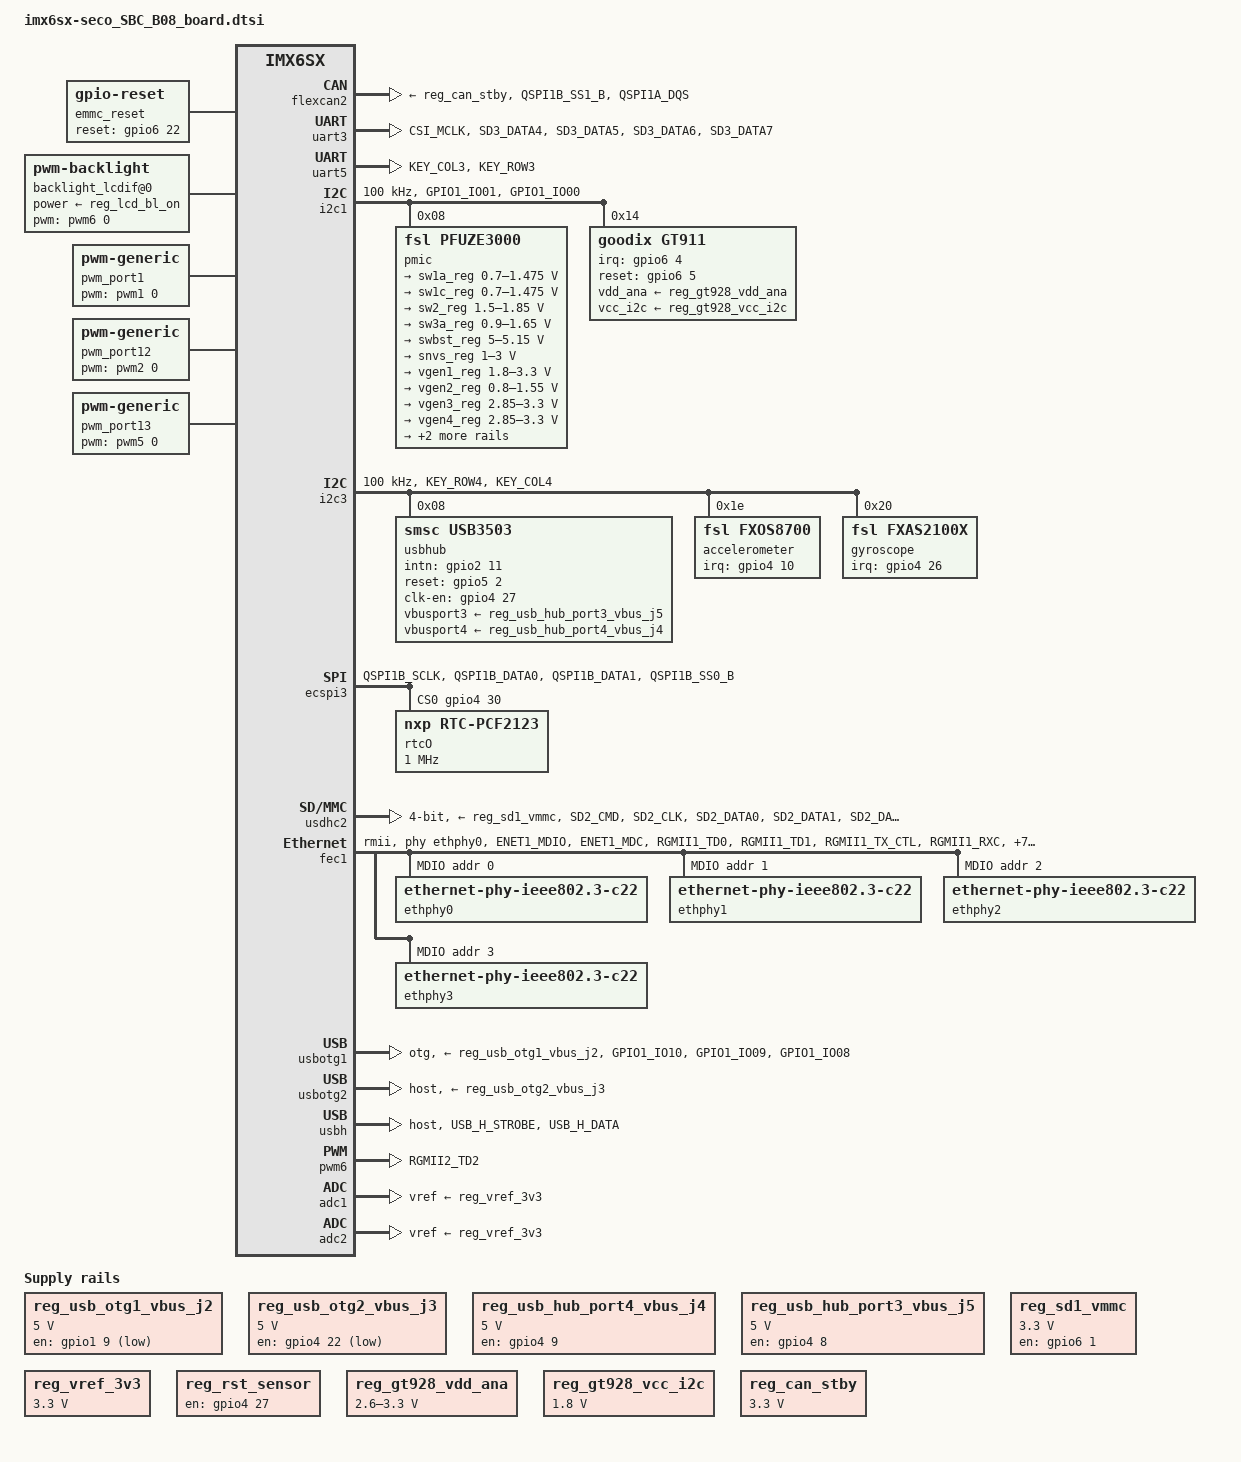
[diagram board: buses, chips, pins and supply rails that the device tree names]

#include <dt-bindings/gpio/gpio.h>
#include <dt-bindings/input/input.h>
#include <dt-bindings/pwm/pwm.h>

#include "imx6sx.dtsi"


/ {
	aliases {
		mmc0 = &usdhc4;
		mmc1 = &usdhc2;
		mmc2 = &usdhc3;

	};


/*  __________________________________________________________________________
 * |                                                                          |
 * |                                 REGULATORS                               |
 * |__________________________________________________________________________|
 */
	regulators {
		compatible       = "simple-bus";
		#address-cells   = <1>;
		#size-cells      = <0>;


		reg_usb_otg1_vbus_j2: usb_otg1_vbus {
			compatible              = "regulator-fixed";
			regulator-name          = "usb_otg1_vbus_j2";
			regulator-min-microvolt = <5000000>;
			regulator-max-microvolt = <5000000>;
			gpio                    = <&gpio1 9 GPIO_ACTIVE_HIGH>;
			enable-active-down;
		};

		reg_usb_otg2_vbus_j3: usb_otg2_vbus {
			compatible              = "regulator-fixed";
			regulator-name          = "usb_otg2_vbus_j3";
			regulator-min-microvolt = <5000000>;
			regulator-max-microvolt = <5000000>;
			gpio                    = <&gpio4 22 GPIO_ACTIVE_HIGH>;
			enable-active-down;
		};

		reg_usb_hub_port4_vbus_j4: usb_otg4_vbus {
			compatible              = "regulator-fixed";
			regulator-name          = "usb_hub_port4_vbus_j4";
			regulator-min-microvolt = <5000000>;
			regulator-max-microvolt = <5000000>;
			gpio                    = <&gpio4 9 GPIO_ACTIVE_HIGH>;
			enable-active-high;
			regulator-always-on;
		};

		reg_usb_hub_port3_vbus_j5: usb_otg3_vbus {
			compatible              = "regulator-fixed";
			regulator-name          = "usb_hub_port3_vbus_j5";
			regulator-min-microvolt = <5000000>;
			regulator-max-microvolt = <5000000>;
			gpio                    = <&gpio4 8 GPIO_ACTIVE_HIGH>;
			enable-active-high;
			regulator-always-on;
		};


		reg_sd1_vmmc: reg_usd {
			compatible              = "regulator-fixed";
			regulator-name          = "vmmc_uSD";
			regulator-min-microvolt = <3300000>;
			regulator-max-microvolt = <3300000>;
			gpio                    = <&gpio6 1 GPIO_ACTIVE_HIGH>;
			enable-active-high;
		};


		reg_sd3_wlan_en: reg_wlan_en {
			compatible              = "regulator-fixed";
			regulator-name          = "wlan-en";
			regulator-min-microvolt = <1800000>;
			regulator-max-microvolt = <1800000>;
			gpio                    = <&gpio2 12 GPIO_ACTIVE_LOW>;
			startup-delay-us        = <70000>;    /* WLAN card specific delay */
			enable-active-high;
			status                  = "disabled";
		};

	
		reg_vref_3v3: reg_vref_3v3 {
			compatible = "regulator-fixed";
			regulator-name = "vref-3v3";
			regulator-min-microvolt = <3300000>;
			regulator-max-microvolt = <3300000>;
		};


		reg_lcd_panel_on: reg_lcd_pon {
        	compatible        = "regulator-fixed";
            regulator-name    = "lcd panel on";
            gpio              = <&gpio4 21 GPIO_ACTIVE_HIGH>;
			status            = "disabled";
            enable-active-high;
        };

		reg_ldb_panel_on: reg_ldb_pon {
        	compatible        = "regulator-fixed";
            regulator-name    = "ldb panel on";
            gpio              = <&gpio4 18 GPIO_ACTIVE_HIGH>;
			status            = "disabled";
            enable-active-high;
        };

		reg_lcd_bl_on: reg_lcd_bl_on {
        	compatible        = "regulator-fixed";
            regulator-name    = "lcd bl on";
            gpio              = <&gpio5 23 GPIO_ACTIVE_HIGH>;
			status            = "disabled";
			enable-active-high;
			regulator-always-on;
        };


		reg_rst_sensor: reg_rst_sensor {
			compatible        = "regulator-fixed";
            regulator-name    = "sensor enable";
            gpio              = <&gpio4 27 GPIO_ACTIVE_HIGH>;
            enable-active-high;
			regulator-always-on;
		};

		reg_gt928_vdd_ana: gt928_vdd_ana {
			compatible              = "regulator-fixed";
			reg                     = <2>;
			regulator-name          = "gt928_vdd_ana";
			regulator-min-microvolt = <2600000>;
			regulator-max-microvolt = <3300000>;
			regulator-always-on;
			status                  = "okay";
		};


		reg_gt928_vcc_i2c: gt928_vcc_i2c {
			compatible              = "regulator-fixed";
			reg                     = <3>;
			regulator-name          = "gt928_vcc_i2c";
			regulator-min-microvolt = <1800000>;
			regulator-max-microvolt = <1800000>;
			regulator-always-on;
			status                  = "okay";
		};

		reg_can_stby: regulator@10 {
                         compatible = "regulator-fixed";
                         regulator-name = "can-stby";
                         regulator-min-microvolt = <3300000>;
                         regulator-max-microvolt = <3300000>;
                 };


	};


	emmc_reset: gpio-reset {
		compatible     = "gpio-reset";
		reset-gpios    = <&gpio6 22 GPIO_ACTIVE_HIGH>;
		reset-delay-us = <100000>;                                                                                                                    
 		#reset-cells   = <0>;
		initially-in-reset;
		status         = "okay";
	};


 /*  __________________________________________________________________________
 * |                                                                          |
 * |                                   VIDEO                                  |
 * |__________________________________________________________________________|
 */
	pxp_v4l2_out {
		compatible = "fsl,imx6sx-pxp-v4l2", "fsl,imx6sl-pxp-v4l2";
		status     = "okay";
	};


	backlight_lcdif@0 {
		compatible               = "pwm-backlight";
		pwms                     = <&pwm6 0 5000000>;
		brightness-levels        = <0  4   8   12  16  20  24  28  32  36
		                            40  44  48  52  56  60  64  68  72  76
		                            80  84  88  92  96  100 104 108 112 116
		                            120 124 128 132 136 140 144 148 152 156
		                            160 164 168 172 176 180 184 188 192 196
		                            200 204 208 212 216 220 224 228 232 236
		                            240 244 248 252 255
		                           >;
		default-brightness-level = <64>;
		fb-names                 = "mxs-lcdif0";
		power-supply             = <&reg_lcd_bl_on>;
		status                   = "okay";
	};	


	blk_lcdif2: backlight_lcdif@1 {
    	compatible   = "gpio-backlight";
        gpios        = <&gpio6 3 GPIO_ACTIVE_HIGH>;
		default-on;
        status       = "disabled";
    };

};


&lcdif1 {
    pinctrl-names = "default";
    pinctrl-0     = <&pinctrl_lcdif_dat_0
    				&pinctrl_lcdif_ctrl_0>;
    lcd-supply    = <&reg_lcd_panel_on>;
    display       = <&display0>;
    status        = "disabled";

    display0: display {
      	bits-per-pixel = <32>;
        bus-width = <24>;

        display-timings {
            native-mode = <&timing0>;
            timing0: timing0 {
        		clock-frequency = <38000000>;
           		hactive         = <800>;
           		vactive         = <480>;
            	hback-porch     = <56>;
            	hfront-porch    = <50>;
            	vback-porch     = <20>;
            	vfront-porch    = <53>;
            	hsync-len       = <180>;
            	vsync-len       = <30>;
				hsync-active    = <0>;
            	vsync-active    = <1>;
            	de-active       = <1>;
            	pixelclk-active = <0>;
        	};
    	};
    };
};


&lcdif2 {
	display    = <&display1>;
	disp-dev   = "ldb";
	lcd-supply = <&reg_ldb_panel_on>;
	status     = "disabled";

	display1: display {
		bits-per-pixel = <16>;
		bus-width      = <18>;
	};
};


&ldb {
	status        = "disabled";

	lvds_chn1: lvds-channel@0 {
		fsl,data-mapping = "spwg";
		fsl,data-width   = <18>;
		crtc             = "lcdif2";
		status           = "disabled";
		
		display-timings {
			native-mode = <&timing2>;
			timing2: LDB-WVGA {
				clock-frequency = <33660000>;
				hactive         = <800>;
				vactive         = <480>;
				hback-porch     = <56>;
				hfront-porch    = <50>;
				vback-porch     = <23>;
				vfront-porch    = <20>;
				hsync-len       = <150>;
				vsync-len       = <2>;
			};
		};
	};
};


&dcic1 {
	dcic_id = <0>;
	dcic_mux = "dcic-lcdif1";
	status = "disabled";
};


&dcic2 {
	dcic_id  = <1>;
	dcic_mux = "dcic-lvds";
	status   = "disabled";
};


 /*  __________________________________________________________________________
 * |                                                                          |
 * |                             POWER MANAGEMENT                             |
 * |__________________________________________________________________________|
 */



/*  __________________________________________________________________________
 * |                                                                          |
 * |                                    CAN                                   |
 * |__________________________________________________________________________|
 */
 /*  PORT 3  */
 &flexcan1 {
    pinctrl-names  = "default";
    pinctrl-0      = <&pinctrl_j9_port3_1>;
	xceiver-supply = <&reg_can_stby>;
    status         = "disabled";
};


&flexcan2 {
    pinctrl-names  = "default";
    pinctrl-0      = <&pinctrl_flexcan2>;
	xceiver-supply = <&reg_can_stby>;
    status         = "okay";
};
/*  __________________________________________________________________________
 * |__________________________________________________________________________|
 */


/*  __________________________________________________________________________
 * |                                                                          |
 * |                                    UART                                  |
 * |__________________________________________________________________________|
 */
/*  PORT 11  */
&uart1 {
	pinctrl-names = "default";
	pinctrl-0     = <&pinctrl_j9_port11_1>;
	fsl,uart-has-rtscts;
	status        = "disabled";
};


/*  PORT 11  */
&uart2 {
	pinctrl-names = "default";
	pinctrl-0     = <&pinctrl_j9_port11_3>;
	status        = "disabled";
};


 /* Bluetooth */
 &uart3 {
	pinctrl-names = "default";
	pinctrl-0     = <&pinctrl_uart3>;
	dma-names     = "","tx";
	fsl,uart-has-rtscts;
	status        = "okay";
};


&uart5 {
	pinctrl-names = "default";
	pinctrl-0     = <&pinctrl_uart5>;
	status        = "okay";
};


 /*  PORT 4  */
&uart6 {
	pinctrl-names  = "default";
	pinctrl-0      = <&pinctrl_j9_port4_2>;
	rs485-cts-gpio = <&gpio1 21 0>;
	fsl,rs485-mode;          // to remove if RTS/CTS are used
	fsl,uart-has-rtscts;     // to remove if r485 mode is used
	status         = "disabled";
};
/*  __________________________________________________________________________
 * |__________________________________________________________________________|
 */


 /*  __________________________________________________________________________
 * |                                                                          |
 * |                            I2C INTERFACE/DEVICE                          |
 * |__________________________________________________________________________|
 */
 &i2c1 {
	clock-frequency = <100000>;
	pinctrl-names   = "default";
	pinctrl-0       = <&pinctrl_i2c1>;
	status          = "okay";

	pmic: pfuze3000@08 {
		compatible = "fsl,pfuze3000";
		reg = <0x08>;

		regulators {
			sw1a_reg: sw1a {
				regulator-min-microvolt = <700000>;
				regulator-max-microvolt = <1475000>;
				regulator-boot-on;
				regulator-always-on;
				regulator-ramp-delay = <6250>;
			};

			/* use sw1c_reg to align with pfuze100/pfuze200 */
			sw1c_reg: sw1b {
				regulator-min-microvolt = <700000>;
				regulator-max-microvolt = <1475000>;
				regulator-boot-on;
				regulator-always-on;
				regulator-ramp-delay = <6250>;
			};

			sw2_reg: sw2 {
				regulator-min-microvolt = <1500000>;
				regulator-max-microvolt = <1850000>;
				regulator-boot-on;
				regulator-always-on;
			};

			sw3a_reg: sw3 {
				regulator-min-microvolt = <900000>;
				regulator-max-microvolt = <1650000>;
				regulator-boot-on;
				regulator-always-on;
			};

			swbst_reg: swbst {
				regulator-min-microvolt = <5000000>;
				regulator-max-microvolt = <5150000>;
			};

			snvs_reg: vsnvs {
				regulator-min-microvolt = <1000000>;
				regulator-max-microvolt = <3000000>;
				regulator-boot-on;
				regulator-always-on;
			};

			vref_reg: vrefddr {
				regulator-boot-on;
				regulator-always-on;
			};

			vgen1_reg: vldo1 {
				regulator-min-microvolt = <1800000>;
				regulator-max-microvolt = <3300000>;
				regulator-always-on;
			};

			vgen2_reg: vldo2 {
				regulator-min-microvolt = <800000>;
				regulator-max-microvolt = <1550000>;
				regulator-always-on;
			};

			vgen3_reg: vccsd {
				regulator-min-microvolt = <2850000>;
				regulator-max-microvolt = <3300000>;
				regulator-always-on;
			};

			vgen4_reg: v33 {
				regulator-min-microvolt = <2850000>;
				regulator-max-microvolt = <3300000>;
				regulator-always-on;
			};

			vgen5_reg: vldo3 {
				regulator-min-microvolt = <1800000>;
				regulator-max-microvolt = <3300000>;
				regulator-always-on;
			};

			vgen6_reg: vldo4 {
				regulator-min-microvolt = <1800000>;
				regulator-max-microvolt = <3300000>;
				regulator-always-on;
			};
		};
	};

	gt911: gt911@14 {
		compatible             = "goodix,gt911";
		reg                    = <0x14>;
		pinctrl-names          = "default";
		pinctrl-0              = <&pinctrl_gt911>;

		vdd_ana-supply         = <&reg_gt928_vdd_ana>;
 		vcc_i2c-supply         = <&reg_gt928_vcc_i2c>;
	
		interrupt-parent       = <&gpio6>;
		interrupts             = <4 IRQ_TYPE_LEVEL_LOW>;
		irq-gpios              = <&gpio6 4 IRQ_TYPE_LEVEL_LOW>;
		irq-flags              = <2>;

		reset-gpios            = <&gpio6 5 GPIO_ACTIVE_HIGH>;
	
		ts-max-width           = <1280>;
		ts-max-height          = <800>;

		touchscreen-max-id     = <11>;
 		touchscreen-size-x     = <800>;
 		touchscreen-size-y     = <480>;
 		touchscreen-max-w      = <1024>;
 		touchscreen-max-p      = <1024>;
		
		goodix,ts-reverse-x    = <0>;
		goodix,ts-reverse-y    = <1>;
		goodix,ts-reverse-xy   = <0>;
		goodix,swap-x2y        = <0>;
		ts-max-finger          = <1>;
		goodix,sensor-id       = <0>;

 		goodix,type-a-report   = <0>;
 		goodix,driver-send-cfg = <1>;

 		goodix,int-sync        = <1>;
 		goodix,esd-protect     = <0>;

 		goodix,auto-update     = <0>;
 		goodix,auto-update-cfg = <1>;
		
		goodix,cfg-group0      = [
41 20 03 E0 01 0A 04 00 01 08 28 05 50 32 03 07
00 00 00 00 00 00 00 00 00 00 00 8C 2B 0D 17 15
31 0D 00 00 10 D2 04 1D 00 00 00 00 00 03 64 32
00 00 00 0F 23 94 C5 02 07 00 00 04 A0 10 00 8B
13 00 7C 16 00 6A 1B 00 5E 20 00 5E 00 00 00 00
00 00 00 00 00 00 00 00 00 00 00 00 00 00 00 00
00 00 00 00 00 00 00 00 00 00 00 00 00 00 00 00
02 04 06 08 0A 0C 0E 10 12 14 16 18 1A FF 00 00
00 00 00 00 00 00 00 00 00 00 00 00 00 00 00 02
04 06 08 0A 0C 0F 10 12 13 14 16 18 1C 1D 1E 1F
20 21 22 24 26 FF FF FF 00 00 00 00 00 00 00 00
00 00 00 00 00 00 00 00 C3 00 00 00 00 00 00 00
00 00 00 00 00 00 00 00 00 00 00 00 00 00 00 00
00 00 00 00 00 00 00 00 00 00 00 00 00 00 00 00
00 00 00 00 00 00 00 00 00 00 00 00 00 00 00 00
		];

		status                 = "okay";
	};


	// gt911: gt911@14 {
    // 	compatible       = "goodix,gt911";
    //     reg              = <0x14>;

 	// 	pinctrl-names    = "default";
 	// 	pinctrl-0        = <&pinctrl_gt911>;
    //     interrupt-parent = <&gpio6>;
 	// 	interrupts       = <4 IRQ_TYPE_LEVEL_LOW>;

	// 	gpios            = <&gpio6 5 GPIO_ACTIVE_LOW>;
 	// 	interrupt-gpio   = <164>;
 	// 	reset-gpio       = <165>;
	// 	ts-max-width     = <800>;
	// 	ts-max-height    = <480>;
	// 	ts-max-finger    = <1>;
	// 	sensor-id        = <2>;
	// 	//ts-reverse-x;
	// 	//ts-reverse-y;
		
	// 	status           = "disabled";
    // };


	st1232: st1232@55 {
		compatible       = "sitronix,st1232";
		reg              = <0x55>;
		pinctrl-names    = "default";
		pinctrl-0        = <&pinctrl_st1232>;		
		interrupt-parent = <&gpio6>;
		interrupts       = <4 IRQ_TYPE_LEVEL_LOW>;
		gpios            = <&gpio6 5 GPIO_ACTIVE_LOW>;
		reverse-x        = <0>;
		reverse-y        = <1>;
		status           = "disabled";
	};

};


/*  PORT 10  */
&i2c2 {
	clock-frequency = <100000>;
	pinctrl-names   = "default";
	pinctrl-0       = <&pinctrl_j9_port10_1>;
	status          = "disabled";
};


&i2c3 {
	clock-frequency = <100000>;
	pinctrl-names   = "default";
	pinctrl-0       = <&pinctrl_i2c3>;
	status          = "okay";

    usbhub: usb3503@08 {
    	compatible       = "smsc,usb3503";
    	reg              = <0x08>;
    	disabled-ports   = <>;
		vbusport3-supply = <&reg_usb_hub_port3_vbus_j5>;
		vbusport4-supply = <&reg_usb_hub_port4_vbus_j4>;
    	intn-gpios       = <&gpio2 11 GPIO_ACTIVE_HIGH>;
    	reset-gpios      = <&gpio5 2 GPIO_ACTIVE_HIGH>;
    	clk-en-gpios     = <&gpio4 27 GPIO_ACTIVE_HIGH>;
    	initial-mode     = <1>;
    };

 	accelerometer: fxos8700@1e {
 		compatible       = "fsl,fxos8700";
 		reg              = <0x1e>;
 		position         = <3>;
		interrupt-parent = <&gpio4>;
		interrupts       = <10 1>;
		shared-interrupt;
 	};
 
 	gyroscope: fxas2100x@20 {
 		compatible       = "fsl,fxas2100x";
 		reg              = <0x20>;
 		position         = <3>;
		interrupt-parent = <&gpio4>;
		interrupts       = <26 1>;
		shared-interrupt;
 	};
};
/*  __________________________________________________________________________
 * |__________________________________________________________________________|
 */



/*  __________________________________________________________________________
 * |                                                                          |
 * |                       QSPI AND SPI INTERFACE/DEVICE                      |
 * |__________________________________________________________________________|
 */
 /*  (FULL only)  */
&qspi2 {
	pinctrl-names = "default";
	pinctrl-0     = <&pinctrl_qspi2>;
	ddrsmp        = <2>;
	status        = "disabled";

    flash0: s25fl128s@0 {
		compatible        = "spansion,s25fl128s", "jedec,spi-nor";
		reg               = <0>;
        #address-cells    = <1>;
        #size-cells       = <1>;
        spi-max-frequency = <29000000>;         
    };
};


&ecspi3 {
    fsl,spi-num-chipselects = <1>;
	cs-gpios                = <&gpio4 30 GPIO_ACTIVE_HIGH>;
    pinctrl-names           = "default";
    pinctrl-0               = <&pinctrl_ecspi3>;
    status                  = "okay"; 

    rtcO: pcf2123@0 {
        compatible        = "nxp,rtc-pcf2123";
		reg               = <0>;
        spi-max-frequency = <1000000>;
        spi-cs-high;
        
    };
};


/*  PORT 2  */
&ecspi5 {
    fsl,spi-num-chipselects = <1>;
	cs-gpios                = <&gpio4 7 GPIO_ACTIVE_HIGH>;
    pinctrl-names           = "default";
    pinctrl-0               = <&pinctrl_j9_port2_1>;
    status                  = "disabled"; 
};
/*  __________________________________________________________________________
 * |__________________________________________________________________________|
 */

/*  __________________________________________________________________________
 * |                                                                          |
 * |                                   USDHC                                  |
 * |__________________________________________________________________________|
 */

 /*  uSD  */
&usdhc2 {
	pinctrl-names          = "default";
	pinctrl-0              = <&pinctrl_usdhc2>;
	vmmc-supply            = <&reg_sd1_vmmc>;
	bus-width              = <4>;
	cd-gpios               = <&gpio6 2 GPIO_ACTIVE_LOW>;
	no-1-8-v;
	keep-power-in-suspend;
	enable-sdio-wakeup;
	status                 = "okay";
};


/*  WiFi (FULL only)  */
 &usdhc3 { 
	pinctrl-names          = "default";
	pinctrl-0              = <&pinctrl_usdhc3>;	
	vmmc-supply            = <&reg_sd3_wlan_en>;
	enable-sdio-wakeup;
	non-removable;	
	cap-power-off-card;
	keep-power-in-suspend;
	status                 = "disabled";

	#address-cells         = <1>;
	#size-cells            = <0>;

	wlcore: wlcore@0 {
		compatible           = "ti,wl1831";
		reg                  = <2>;
		interrupt-parent     = <&gpio2>;
		interrupts           = <16 IRQ_TYPE_EDGE_RISING>;
		ref-clock-frequency  = <38400000>;
		tcxo-clock-frequency = <26000000>;
	};
};


/*  eMMC (FULL only) */
&usdhc4 {
	pinctrl-names          = "default";
	pinctrl-0              = <&pinctrl_usdhc4>;
	resets                 = <&emmc_reset>;
	bus-width              = <8>;
	no-1-8-v;
	non-removable;
    keep-power-in-suspend;
	status                 = "disabled";
};
/*  __________________________________________________________________________
 * |__________________________________________________________________________|
 */



/*  __________________________________________________________________________
 * |                                                                          |
 * |                                  ETHERNET                                |
 * |__________________________________________________________________________|
 */
&fec1 {
    pinctrl-names     = "default", "phy-reset", "phy-running";
	pinctrl-0         = <&pinctrl_enet1_1>;
	pinctrl-1         = <&pinctrl_enet1_2>;
	pinctrl-2         = <&pinctrl_enet1_3>;
	phy-reset-gpios   = <&gpio2 1 GPIO_ACTIVE_HIGH>;
	phy-addr01-gpios  = <&gpio5 4 GPIO_ACTIVE_LOW>;
	phy-mode          = "rmii";
	phy-handle        = <&ethphy0>;
	status            = "okay";

    mdio {
    	#address-cells = <1>;
    	#size-cells = <0>;

		ethphy0: ethernet-phy@0 {
			compatible = "ethernet-phy-ieee802.3-c22";
			reg = <0>;
		};

		ethphy1: ethernet-phy@1 {
			compatible = "ethernet-phy-ieee802.3-c22";
			reg = <1>;
		};

		ethphy2: ethernet-phy@2 {
			compatible = "ethernet-phy-ieee802.3-c22";
			reg = <2>;
		};

		ethphy3: ethernet-phy@3 {
			compatible = "ethernet-phy-ieee802.3-c22";
			reg = <3>;
		};
    };
};


/*  (FULL only)  */
&fec2 {
    pinctrl-names     = "default", "phy-reset", "phy-running";
	pinctrl-0         = <&pinctrl_enet2_1>;
	pinctrl-1         = <&pinctrl_enet2_2>;
	pinctrl-2         = <&pinctrl_enet2_3>;
	phy-reset-gpios   = <&gpio2 0 GPIO_ACTIVE_HIGH>;
	phy-addr01-gpios  = <&gpio5 16 GPIO_ACTIVE_HIGH>;
	phy-mode          = "rmii";
	phy-handle        = <&ethphy3>;
	status            = "disabled";
};
/*  __________________________________________________________________________
 * |__________________________________________________________________________|
 */



/*  __________________________________________________________________________
 * |                                                                          |
 * |                                     USB                                  |
 * |__________________________________________________________________________|
 */
&usbotg1 {
	pinctrl-names               = "default";
	pinctrl-0                   = <&pinctrl_usb_otg1>;
	vbus-supply                 = <&reg_usb_otg1_vbus_j2>;
    idirq-gpios                 = <&gpio1 10 GPIO_ACTIVE_HIGH>;
	dr_mode                     = "otg";
    srp-disable;
    hnp-disable;
    adp-disable;
	imx-usb-charger-detection;
	status                      = "okay";
};


&usbotg2 {
	vbus-supply = <&reg_usb_otg2_vbus_j3>;
	dr_mode     = "host";
	status      = "okay";
};


&usbh {
	pinctrl-names     = "idle", "active";
	pinctrl-0         = <&pinctrl_usbh_1>;
	pinctrl-1         = <&pinctrl_usbh_2>;
	dr_mode           = "host";
	osc-clkgate-delay = <0x3>;
	status            = "okay";
};
/*  __________________________________________________________________________
 * |__________________________________________________________________________|
 */



  /*  __________________________________________________________________________
 * |                                                                          |
 * |                                     PWM                                  |
 * |__________________________________________________________________________|
 */
 /*  PORT 1  */
 &pwm1 {
	pinctrl-names = "default";
	pinctrl-0     = <&pinctrl_j9_port1_1>;
	status        = "disabled";
};


 /*  PORT 12  */
&pwm2 {
	pinctrl-names = "default";
	pinctrl-0     = <&pinctrl_j9_port12_1>;
	status        = "disabled";
};


 /*  PORT 13  */
&pwm5 {
	pinctrl-names = "default";
	pinctrl-0     = <&pinctrl_j9_port13_1>;
	status        = "disabled";
};


&pwm6 {
    pinctrl-names = "default";
    pinctrl-0     = <&pinctrl_pwm6>;
    status        = "okay";
};


/* To comment in case you do not want to use the generic PWM controller on J9 expansion connector */
/ {
	pwm_port1 {
		compatible      = "pwm-generic";
		pwms            = <&pwm1 0 500000000>;
		max-duty        = <255>;
		dft-duty        = <128>;
		pwm-period-ns   = <370000>;
		period-ns-min   = <150>;
		period-ns-max   = <50000000>;
		pwm-id          = <2>;
		enable          = <0>;
	};


	pwm_port12 {
		compatible      = "pwm-generic";
		pwms            = <&pwm2 0 500000000>;
		max-duty        = <255>;
		dft-duty        = <128>;
		pwm-period-ns   = <370000>;
		period-ns-min   = <150>;
		period-ns-max   = <50000000>;
		pwm-id          = <2>;
		enable          = <0>;
	};


	pwm_port13 {
		compatible      = "pwm-generic";
		pwms            = <&pwm5 0 500000000>;
		max-duty        = <255>;
		dft-duty        = <128>;
		pwm-period-ns   = <370000>;
		period-ns-min   = <150>;
		period-ns-max   = <50000000>;
		pwm-id          = <2>;
		enable          = <0>;
	};
};




/*  __________________________________________________________________________
 * |__________________________________________________________________________|
 */



/*  __________________________________________________________________________
 * |                                                                          |
 * |                                  BLUETOOTH                               |
 * |__________________________________________________________________________|
 */
 / {

	kim: kim {
	    compatible     = "kim";
	    nshutdown_gpio = <49>;  // GPIO2_17 The wl8 driver expects gpio to be an integer, so gpio2_17 is (2-1)*32+17=49
	    dev_name       = "/dev/ttymxc2";
	    flow_cntrl     = <1>;
	    baud_rate      = <921600>;
		status         = "disabled";
	};

	btwilink: btwilink {
	    compatible = "btwilink";
		status     = "disabled";
	};

 };
/*  __________________________________________________________________________
 * |__________________________________________________________________________|
 */



  /*  __________________________________________________________________________
 * |                                                                          |
 * |                                     ADC                                  |
 * |__________________________________________________________________________|
 */
 &adc1 {
	vref-supply = <&reg_vref_3v3>;
	status      = "okay";
};

&adc2 {
	vref-supply = <&reg_vref_3v3>;
	status      = "okay";
};
/*  __________________________________________________________________________
 * |__________________________________________________________________________|
 */



/*  __________________________________________________________________________
 * |                                                                          |
 * |                                    AUDIO                                 |
 * |__________________________________________________________________________|
 */
 /*  PORT 6  */
&spdif {
   	pinctrl-names = "default";
   	pinctrl-0     = <&pinctrl_j9_port6_1>;
   	status        = "disabled";
};


 /*  PORT 7  */
&audmux {
	pinctrl-names = "default";
	pinctrl-0     = <&pinctrl_j9_port7_1>;	
	status        = "disabled";
};
/*  __________________________________________________________________________
 * |__________________________________________________________________________|
 */


 /*  __________________________________________________________________________
 * |                                                                          |
 * |                                    IOMUX                                 |
 * |__________________________________________________________________________|
 */
&iomuxc {
	pinctrl-names = "default";
	pinctrl-0 = <&pinctrl_hog>;

	imx6sx-SBC_B08 {

		pinctrl_hog: hoggrp {
			fsl,pins = <
				/*  USB  */
				MX6SX_PAD_QSPI1A_SS0_B__GPIO4_IO_22          0x80000000
				MX6SX_PAD_NAND_DATA04__GPIO4_IO_8            0x80000000
				MX6SX_PAD_NAND_DATA05__GPIO4_IO_9	         0x80000000
				MX6SX_PAD_KEY_COL1__GPIO2_IO_11              0x80000000
				MX6SX_PAD_QSPI1B_DATA3__GPIO4_IO_27          0x80000000
				MX6SX_PAD_RGMII1_RD2__GPIO5_IO_2             0x80000000
				MX6SX_PAD_QSPI1B_DATA3__GPIO4_IO_27          0x80000000
				/*  RGB  */
				MX6SX_PAD_RGMII2_TXC__GPIO5_IO_23            0x15059	        // RGB_BL_ON
				MX6SX_PAD_QSPI1A_SCLK__GPIO4_IO_21           0x15059	        // RGB_PANEL_ON
				MX6SX_PAD_NAND_RE_B__GPIO4_IO_12             0x15059	        // RGB_VGH_ON
				/*  LDB  */
				MX6SX_PAD_SD1_DATA1__GPIO6_IO_3              0x80000000	        // BL_ON
				MX6SX_PAD_QSPI1A_DATA2__GPIO4_IO_18	         0x80000000	        // PANEL_ON
				/*  BLUETOOTH  */
				MX6SX_PAD_KEY_ROW2__GPIO2_IO_17              0x15059
				/*  WIRELESS  */
				MX6SX_PAD_KEY_COL2__GPIO2_IO_12              0x80000000
			>;
		};


/*  __________________________________________________________________________
 * |________________________________ UART ____________________________________|
 */
		pinctrl_uart3: uart3grp {
			fsl,pins = <
				MX6SX_PAD_CSI_MCLK__OSC32K_32K_OUT           0x10059
				MX6SX_PAD_SD3_DATA4__UART3_RX                0x13059
				MX6SX_PAD_SD3_DATA5__UART3_TX                0x13059
				MX6SX_PAD_SD3_DATA6__UART3_RTS_B             0x13059
				MX6SX_PAD_SD3_DATA7__UART3_CTS_B             0x13059
			>;
		};

		pinctrl_uart5: uart5grp {
			fsl,pins = <
				MX6SX_PAD_KEY_COL3__UART5_TX                 0x13059
				MX6SX_PAD_KEY_ROW3__UART5_RX                 0x13059
			>;
		};


/*  __________________________________________________________________________
 * |_________________________________ I2C ____________________________________|
 */
        pinctrl_i2c1: i2c1grp {
			fsl,pins = <
                MX6SX_PAD_GPIO1_IO01__I2C1_SDA               0x4001b8b1
			    MX6SX_PAD_GPIO1_IO00__I2C1_SCL               0x4001b8b1
			>;
		};

 		pinctrl_i2c2: i2c2grp {
			fsl,pins = <
				MX6SX_PAD_GPIO1_IO03__I2C2_SDA               0x4001b8b1
				MX6SX_PAD_GPIO1_IO02__I2C2_SCL               0x4001b8b1
			>;
		};

		pinctrl_i2c3: i2c3grp {
			fsl,pins = <
				MX6SX_PAD_KEY_ROW4__I2C3_SDA                 0x4001b8b1
				MX6SX_PAD_KEY_COL4__I2C3_SCL                 0x4001b8b1                                    
			>;
		};


/*  __________________________________________________________________________
 * |_________________________________ SPI ____________________________________|
 */
		pinctrl_ecspi3: ecspi3grp {
			fsl,pins = <
                MX6SX_PAD_QSPI1B_SCLK__ECSPI3_SCLK 	         0x100b1
                MX6SX_PAD_QSPI1B_DATA0__ECSPI3_MOSI	         0x100b1
                MX6SX_PAD_QSPI1B_DATA1__ECSPI3_MISO	         0x100b1
                /*  CS SPI 1  */
                MX6SX_PAD_QSPI1B_SS0_B__GPIO4_IO_30	         0x80000000
			>;
		};


/*  __________________________________________________________________________
 * |________________________________ QSPI ____________________________________|
 */
        pinctrl_qspi2: qspi2grp {
			fsl,pins = <
				MX6SX_PAD_NAND_WP_B__QSPI2_A_DATA_0	         0x70f1
				MX6SX_PAD_NAND_READY_B__QSPI2_A_DATA_1       0x70f1
				MX6SX_PAD_NAND_CE0_B__QSPI2_A_DATA_2	     0x70f1
				MX6SX_PAD_NAND_CE1_B__QSPI2_A_DATA_3	     0x70f1
				MX6SX_PAD_NAND_CLE__QSPI2_A_SCLK	         0x70f1
				MX6SX_PAD_NAND_ALE__QSPI2_A_SS0_B	         0x70f1
			>;
		};


/*  __________________________________________________________________________
 * |________________________________ USDHC ___________________________________|
 */
        /*  uSD  */
		pinctrl_usdhc2: usdhc2grp {
			fsl,pins = <
				MX6SX_PAD_SD2_CMD__USDHC2_CMD                0x17059
				MX6SX_PAD_SD2_CLK__USDHC2_CLK                0x10059
				MX6SX_PAD_SD2_DATA0__USDHC2_DATA0            0x17059
				MX6SX_PAD_SD2_DATA1__USDHC2_DATA1            0x17059
				MX6SX_PAD_SD2_DATA2__USDHC2_DATA2            0x17059
				MX6SX_PAD_SD2_DATA3__USDHC2_DATA3            0x17059
				MX6SX_PAD_SD1_CMD__GPIO6_IO_1                0x80000000 // uSD USDHC2 PWR
				MX6SX_PAD_SD1_DATA0__GPIO6_IO_2              0xb0b0 // uSD USDHC2 CD
			>;
		};

        /*  WiFi  */
		pinctrl_usdhc3: usdhc3grp {
			fsl,pins = <
				MX6SX_PAD_SD3_CMD__USDHC3_CMD                0x17069
				MX6SX_PAD_SD3_CLK__USDHC3_CLK                0x10069
				MX6SX_PAD_SD3_DATA0__USDHC3_DATA0            0x17069
				MX6SX_PAD_SD3_DATA1__USDHC3_DATA1            0x17069
				MX6SX_PAD_SD3_DATA2__USDHC3_DATA2            0x17069
				MX6SX_PAD_SD3_DATA3__USDHC3_DATA3            0x17069
				MX6SX_PAD_KEY_ROW1__GPIO2_IO_16              0x80000000
			>;
		};

        /*  eMMC  */
		pinctrl_usdhc4: usdhc4grp {
			fsl,pins = <
				MX6SX_PAD_SD4_CLK__USDHC4_CLK                0x17069
				MX6SX_PAD_SD4_CMD__USDHC4_CMD                0x10069
				MX6SX_PAD_SD4_DATA0__USDHC4_DATA0            0x17069
				MX6SX_PAD_SD4_DATA1__USDHC4_DATA1            0x17069
				MX6SX_PAD_SD4_DATA2__USDHC4_DATA2            0x17069
				MX6SX_PAD_SD4_DATA3__USDHC4_DATA3            0x17069
				MX6SX_PAD_SD4_DATA4__USDHC4_DATA4            0x17069
				MX6SX_PAD_SD4_DATA5__USDHC4_DATA5            0x17069
				MX6SX_PAD_SD4_DATA6__USDHC4_DATA6            0x17069
				MX6SX_PAD_SD4_DATA7__USDHC4_DATA7            0x17069
				MX6SX_PAD_SD4_RESET_B__GPIO6_IO_22           0x80000000
			>;
		};


/*  __________________________________________________________________________
 * |__________________________________ CAN ___________________________________|
 */
        pinctrl_flexcan2: flexcan2grp {
            fsl,pins = <
                MX6SX_PAD_QSPI1B_SS1_B__CAN2_RX              0x1b020
                MX6SX_PAD_QSPI1A_DQS__CAN2_TX                0x1b020
            >;
        };


/*  __________________________________________________________________________
 * |______________________________ ETHERNET __________________________________|
 */
		pinctrl_enet1_1: enet1grp-1 {
			fsl,pins = <
				MX6SX_PAD_ENET1_MDIO__ENET1_MDIO             0xa0b1
				MX6SX_PAD_ENET1_MDC__ENET1_MDC               0xa0b1
				MX6SX_PAD_RGMII1_TD0__ENET1_TX_DATA_0        0xa0b1
				MX6SX_PAD_RGMII1_TD1__ENET1_TX_DATA_1        0xa0b1
				MX6SX_PAD_RGMII1_TX_CTL__ENET1_TX_EN         0xa0b1
				MX6SX_PAD_RGMII1_RXC__ENET1_RX_ER   	     0x3081
				MX6SX_PAD_ENET1_TX_CLK__ENET1_REF_CLK1       0x3081
				MX6SX_PAD_RGMII1_RD0__ENET1_RX_DATA_0        0x3081
				MX6SX_PAD_RGMII1_RD1__ENET1_RX_DATA_1        0x3081
                MX6SX_PAD_ENET1_CRS__GPIO2_IO_1              0x80000000
				MX6SX_PAD_KEY_COL0__GPIO2_IO_10	             0x80000000
				MX6SX_PAD_ENET2_RX_CLK__ENET2_REF_CLK_25M	 0x91
			>;
		};

		pinctrl_enet1_2: enet1grp-2 {
			fsl,pins = <
        		MX6SX_PAD_RGMII1_RX_CTL__GPIO5_IO_4          0x80000000
			>;
		};

		pinctrl_enet1_3: enet1grp-3 {
			fsl,pins = <
				MX6SX_PAD_RGMII1_RX_CTL__ENET1_RX_EN         0x3081
			>;
		};

		pinctrl_enet2_1: enet2grp-1 {
			fsl,pins = <
				MX6SX_PAD_RGMII2_TD0__ENET2_TX_DATA_0        0xa0b1
				MX6SX_PAD_RGMII2_TD1__ENET2_TX_DATA_1        0xa0b1
				MX6SX_PAD_RGMII2_TX_CTL__ENET2_TX_EN         0xa0b1
				MX6SX_PAD_RGMII2_RXC__ENET2_RX_ER   	     0x3081
				MX6SX_PAD_ENET2_TX_CLK__ENET2_REF_CLK2       0x3081
				MX6SX_PAD_RGMII2_RD0__ENET2_RX_DATA_0        0x3081
				MX6SX_PAD_RGMII2_RD1__ENET2_RX_DATA_1        0x3081
                MX6SX_PAD_ENET1_COL__GPIO2_IO_0              0x80000000
				MX6SX_PAD_KEY_ROW0__GPIO2_IO_15			     0x80000000
			>;
		};

		pinctrl_enet2_2: enet2grp-2 {
			fsl,pins = <
            	MX6SX_PAD_RGMII2_RX_CTL__GPIO5_IO_16         0x80000000
			>;
		};

		pinctrl_enet2_3: enet2grp-3 {
			fsl,pins = <
				MX6SX_PAD_RGMII2_RX_CTL__ENET2_RX_EN         0x3081
			>;
		};


/*  __________________________________________________________________________
 * |__________________________________ PWM ___________________________________|
 */
        pinctrl_pwm6: pwm6grp {
        	fsl,pins = <
				MX6SX_PAD_RGMII2_TD2__PWM6_OUT               0x110b0	        // RGB_BL_CTRL
            >;
        };


/*  __________________________________________________________________________
 * |__________________________________ USB ___________________________________|
 */
 		pinctrl_usb_otg1: usbotg1idgrp {
        	fsl,pins = <
				MX6SX_PAD_GPIO1_IO10__GPIO1_IO_10            0x80000000 
				MX6SX_PAD_GPIO1_IO09__GPIO1_IO_9             0x10b0
				MX6SX_PAD_GPIO1_IO08__USB_OTG1_OC            0x10b0
            >;
        };

		pinctrl_usbh_1: usbhgrp-1 {
			fsl,pins = <
				MX6SX_PAD_USB_H_STROBE__USB_H_STROBE         0x40013030
				MX6SX_PAD_USB_H_DATA__USB_H_DATA             0x40013030
			>;
		};

		pinctrl_usbh_2: usbhgrp-2 {
			fsl,pins = <
				MX6SX_PAD_USB_H_STROBE__USB_H_STROBE         0x40017030
				MX6SX_PAD_QSPI1A_DATA0__USB_OTG2_OC          0x17059
			>;
		};


/*  __________________________________________________________________________
 * |__________________________________ RGB ___________________________________|
 */
		pinctrl_lcdif_ctrl_0: lcdifctrlgrp {
			fsl,pins = <
				MX6SX_PAD_LCD1_CLK__LCDIF1_CLK               0x4001b0b8
				MX6SX_PAD_LCD1_ENABLE__LCDIF1_ENABLE         0x4001b0b8
				MX6SX_PAD_LCD1_VSYNC__LCDIF1_VSYNC           0x4001b080
				MX6SX_PAD_LCD1_HSYNC__LCDIF1_HSYNC           0x40018080
				MX6SX_PAD_LCD1_RESET__GPIO3_IO_27            0x80000000
			>;
		};

		pinctrl_lcdif_dat_0: lcdifdatgrp {
			fsl,pins = <
				MX6SX_PAD_LCD1_DATA00__LCDIF1_DATA_0         0x4001b0b8
				MX6SX_PAD_LCD1_DATA01__LCDIF1_DATA_1         0x4001b0b8
				MX6SX_PAD_LCD1_DATA02__LCDIF1_DATA_2         0x4001b0b8
				MX6SX_PAD_LCD1_DATA03__LCDIF1_DATA_3         0x4001b0b8
				MX6SX_PAD_LCD1_DATA04__LCDIF1_DATA_4         0x4001b0b8
				MX6SX_PAD_LCD1_DATA05__LCDIF1_DATA_5         0x4001b0b8
				MX6SX_PAD_LCD1_DATA06__LCDIF1_DATA_6         0x4001b0b8
				MX6SX_PAD_LCD1_DATA07__LCDIF1_DATA_7         0x4001b0b8
				MX6SX_PAD_LCD1_DATA08__LCDIF1_DATA_8         0x4001b0b8
				MX6SX_PAD_LCD1_DATA09__LCDIF1_DATA_9         0x4001b0b8
				MX6SX_PAD_LCD1_DATA10__LCDIF1_DATA_10        0x4001b0b8
				MX6SX_PAD_LCD1_DATA11__LCDIF1_DATA_11        0x4001b0b8
				MX6SX_PAD_LCD1_DATA12__LCDIF1_DATA_12        0x4001b0b8
				MX6SX_PAD_LCD1_DATA13__LCDIF1_DATA_13        0x4001b0b8
				MX6SX_PAD_LCD1_DATA14__LCDIF1_DATA_14        0x4001b0b8
				MX6SX_PAD_LCD1_DATA15__LCDIF1_DATA_15        0x4001b0b8
				MX6SX_PAD_LCD1_DATA16__LCDIF1_DATA_16        0x4001b0b8
				MX6SX_PAD_LCD1_DATA17__LCDIF1_DATA_17        0x4001b0b8
				MX6SX_PAD_LCD1_DATA18__LCDIF1_DATA_18        0x4001b0b8
				MX6SX_PAD_LCD1_DATA19__LCDIF1_DATA_19        0x4001b0b8
				MX6SX_PAD_LCD1_DATA20__LCDIF1_DATA_20        0x4001b0b8
				MX6SX_PAD_LCD1_DATA21__LCDIF1_DATA_21        0x4001b0b8
				MX6SX_PAD_LCD1_DATA22__LCDIF1_DATA_22        0x4001b0b8
				MX6SX_PAD_LCD1_DATA23__LCDIF1_DATA_23        0x4001b0b8
			>;
		};

/*  __________________________________________________________________________
 * |_____________________________ TOUCH SCREEN _______________________________|
 */
 		pinctrl_gt911: gt911grp {
			fsl,pins = <
				MX6SX_PAD_SD1_DATA2__GPIO6_IO_4              0x80000000	          // TOUCH_INT
				MX6SX_PAD_SD1_DATA3__GPIO6_IO_5              0x80000000	          // TOUCH_RST
			>;
		};

		pinctrl_st1232: st1232grp {
			fsl,pins = <
				MX6SX_PAD_SD1_DATA2__GPIO6_IO_4              0x80000000	          // TOUCH_INT
				MX6SX_PAD_SD1_DATA3__GPIO6_IO_5              0x80000000	          // TOUCH_RST
			>;
		};


/*  ____________________________________________________________________________
 * |__________________________________ PORT1 ___________________________________|
*/
		pinctrl_j9_port1_gpio: j9_port1grp1 {
			fsl,pins = <
				MX6SX_PAD_RGMII2_RD3__GPIO5_IO_15            0x1f071
			>;
		};

		pinctrl_j9_port1_1: j9_port1grp2 {	/* PWM1 */
			fsl,pins = <
				MX6SX_PAD_RGMII2_RD3__PWM1_OUT               0x1b0b1
			>;
		};

/*  ____________________________________________________________________________
 * |__________________________________ PORT2 ___________________________________|
*/
		pinctrl_j9_port2_gpio: j9_port2grp1 {
			fsl,pins = <
				MX6SX_PAD_NAND_DATA00__GPIO4_IO_4            0x1f071
                MX6SX_PAD_NAND_DATA01__GPIO4_IO_5            0x1f071
                MX6SX_PAD_NAND_DATA02__GPIO4_IO_6            0x1f071
                MX6SX_PAD_NAND_DATA03__GPIO4_IO_7            0x1f071
			>;
		};
	
		pinctrl_j9_port2_1: j9_port2grp2 {
            fsl,pins = <
            	MX6SX_PAD_NAND_DATA00__ECSPI5_MISO           0x100b1
                MX6SX_PAD_NAND_DATA01__ECSPI5_MOSI           0x100b1
                MX6SX_PAD_NAND_DATA02__ECSPI5_SCLK           0x100b1
                MX6SX_PAD_NAND_DATA03__GPIO4_IO_7            0x80000000
            >;
        };

/*  ____________________________________________________________________________
 * |__________________________________ PORT3 ___________________________________|
*/
		pinctrl_j9_port3_gpio: j9_port3grp1 {
			fsl,pins = <
				MX6SX_PAD_QSPI1B_DQS__GPIO4_IO_28            0x1f071
                MX6SX_PAD_QSPI1A_SS1_B__GPIO4_IO_23          0x1f071
			>;
		};

		pinctrl_j9_port3_1: j9_port3grp2 {
            fsl,pins = <
                MX6SX_PAD_QSPI1B_DQS__CAN1_TX                0x1b020
                MX6SX_PAD_QSPI1A_SS1_B__CAN1_RX              0x1b020
            >;
        };

/*  ____________________________________________________________________________
 * |__________________________________ PORT4 ___________________________________|
*/	
		pinctrl_j9_port4_gpio: j9_port4grp1 {
			fsl,pins = <
				MX6SX_PAD_CSI_DATA07__GPIO1_IO_21            0x1f071
				MX6SX_PAD_CSI_DATA06__GPIO1_IO_20            0x1f071
				MX6SX_PAD_CSI_DATA05__GPIO1_IO_19            0x1f071
				MX6SX_PAD_CSI_DATA04__GPIO1_IO_18            0x1f071
			>;
		};

		pinctrl_j9_port4_1: j9_port4grp2 {
			fsl,pins = <
				MX6SX_PAD_CSI_DATA05__UART6_TX               0x1b0b1
				MX6SX_PAD_CSI_DATA04__UART6_RX               0x1b0b1
				MX6SX_PAD_CSI_DATA07__UART6_CTS_B            0x1b0b1
				MX6SX_PAD_CSI_DATA06__UART6_RTS_B            0x1b0b1
			>;
		};


		/*  for 485 mode  */
		pinctrl_j9_port4_2: j9_port4grp3 {
			fsl,pins = <
				MX6SX_PAD_CSI_DATA05__UART6_TX               0x1b0b1
				MX6SX_PAD_CSI_DATA04__UART6_RX               0x1b0b1
				MX6SX_PAD_CSI_DATA06__GPIO1_IO_20            0x1f071
				MX6SX_PAD_CSI_DATA07__GPIO1_IO_21            0x1f071
			>;
		};

/*  ____________________________________________________________________________
 * |__________________________________ PORT5 ___________________________________|
*/
		pinctrl_j9_port5_gpio: j9_port5grp1 {
			fsl,pins = <
				MX6SX_PAD_CSI_PIXCLK__GPIO1_IO_24            0x1f071 
			>;
		};

/*  ____________________________________________________________________________
 * |__________________________________ PORT6 ___________________________________|
*/
		pinctrl_j9_port6_gpio: j9_port6grp1 {
			fsl,pins = <
				MX6SX_PAD_GPIO1_IO11__GPIO1_IO_11            0x1f071
				MX6SX_PAD_GPIO1_IO12__GPIO1_IO_12            0x1f071
			>;
		};

		pinctrl_j9_port6_1: j9_port6grp2 {
			fsl,pins = <
				MX6SX_PAD_GPIO1_IO11__SPDIF_IN               0x1b0b0
				MX6SX_PAD_GPIO1_IO12__SPDIF_OUT	             0x1b0b0
			>;
		};

/*  ____________________________________________________________________________
 * |__________________________________ PORT7 ___________________________________|
*/
		pinctrl_j9_port7_gpio: j9_port7grp1 {
			fsl,pins = <
				MX6SX_PAD_CSI_VSYNC__GPIO1_IO_25             0x1f071		
				MX6SX_PAD_CSI_HSYNC__GPIO1_IO_22             0x1f071		
				MX6SX_PAD_CSI_DATA00__GPIO1_IO_14            0x1f071		
				MX6SX_PAD_CSI_DATA01__GPIO1_IO_15            0x1f071	
			>;
		};

	 	pinctrl_j9_port7_1: j9_port7grp2 {
            fsl,pins = <
				MX6SX_PAD_CSI_VSYNC__AUDMUX_AUD6_RXD         0x130b0
				MX6SX_PAD_CSI_HSYNC__AUDMUX_AUD6_TXD         0x120b0
				MX6SX_PAD_CSI_DATA00__AUDMUX_AUD6_TXC        0x130b0
				MX6SX_PAD_CSI_DATA01__AUDMUX_AUD6_TXFS       0x130b0
            >;
        };

/*  ____________________________________________________________________________
 * |__________________________________ PORT8 ___________________________________|
*/
		pinctrl_j9_port8_gpio: j9_port8grp1 {
			fsl,pins = <
				MX6SX_PAD_CSI_DATA02__GPIO1_IO_16            0x1f071
			>;
		};
	

/*  ____________________________________________________________________________
 * |__________________________________ PORT9 ___________________________________|
*/
		pinctrl_j9_port9_gpio: j9_port9grp1 {
			fsl,pins = <
				MX6SX_PAD_CSI_DATA03__GPIO1_IO_17            0x1f071
			>;
		};

/*  ____________________________________________________________________________
 * |__________________________________ PORT10 ___________________________________|
*/
		pinctrl_j9_port10_gpio: j9_port10grp1 {
			fsl,pins = <
				MX6SX_PAD_GPIO1_IO03__GPIO1_IO_3             0x1f071
				MX6SX_PAD_GPIO1_IO02__GPIO1_IO_2             0x1f071
			>;
		};

		pinctrl_j9_port10_1: j9_port10grp2 {
			fsl,pins = <
				MX6SX_PAD_GPIO1_IO03__I2C2_SDA               0x4001b8b1
				MX6SX_PAD_GPIO1_IO02__I2C2_SCL               0x4001b8b1
			>;
		};

/*  ____________________________________________________________________________
 * |__________________________________ PORT11 ___________________________________|
*/
		pinctrl_j9_port11_gpio: j9_port11grp1 {
			fsl,pins = <
				MX6SX_PAD_GPIO1_IO04__GPIO1_IO_4             0x1f071
				MX6SX_PAD_GPIO1_IO05__GPIO1_IO_5             0x1f071
				MX6SX_PAD_GPIO1_IO07__GPIO1_IO_7             0x1f071
				MX6SX_PAD_GPIO1_IO06__GPIO1_IO_6             0x1f071
			>;
		};

		pinctrl_j9_port11_1: j9_port11grp2 {
			fsl,pins = <
				MX6SX_PAD_GPIO1_IO04__UART1_TX               0x1b0b1
				MX6SX_PAD_GPIO1_IO05__UART1_RX               0x1b0b1
				MX6SX_PAD_GPIO1_IO07__UART1_CTS_B            0x1b0b1
				MX6SX_PAD_GPIO1_IO06__UART1_RTS_B            0x1b0b1
			>;
		};

		pinctrl_j9_port11_2: j9_port11grp3 {
			fsl,pins = <
				MX6SX_PAD_GPIO1_IO04__UART1_TX               0x1b0b1
				MX6SX_PAD_GPIO1_IO05__UART1_RX               0x1b0b1
			>;
		};
	
		pinctrl_j9_port11_3: j9_port11grp4 {
			fsl,pins = <
				MX6SX_PAD_GPIO1_IO07__UART2_RX               0x1b0b1
				MX6SX_PAD_GPIO1_IO06__UART2_TX               0x1b0b1
			>;
		};
	
/*  ____________________________________________________________________________
 * |__________________________________ PORT12 ___________________________________|
*/
		pinctrl_j9_port12_gpio: j9_port12grp1 {
			fsl,pins = <
				MX6SX_PAD_RGMII2_RD2__GPIO5_IO_14            0x1f071
			>;
		};

		pinctrl_j9_port12_1: j9_port12grp2 {
			fsl,pins = <
				MX6SX_PAD_RGMII2_RD2__PWM2_OUT               0x1b0b1
			>;
		};

/*  ____________________________________________________________________________
 * |__________________________________ PORT13 ___________________________________|
*/
		pinctrl_j9_port13_gpio: j9_port13grp1 {
			fsl,pins = <
				MX6SX_PAD_RGMII2_TD3__GPIO5_IO_21            0x1f071
			>;
		};

		pinctrl_j9_port13_1: j9_port13grp2 {
			fsl,pins = <
				MX6SX_PAD_RGMII2_TD3__PWM5_OUT	             0x1b0b1
			>;
		};


	};
};
/*  __________________________________________________________________________
 * |__________________________________________________________________________|
 */
